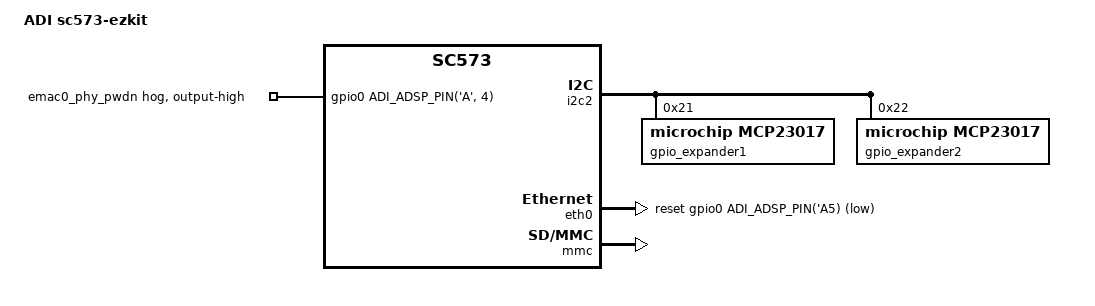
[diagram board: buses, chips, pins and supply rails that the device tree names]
// SPDX-License-Identifier: GPL-2.0-or-later
/*
 * (C) Copyright 2022 - Analog Devices, Inc.
 *
 * Written and/or maintained by Timesys Corporation
 *
 * Contact: Nathan Barrett-Morrison <nathan.morrison@timesys.com>
 * Contact: Greg Malysa <greg.malysa@timesys.com>
 */

/dts-v1/;

#include "sc5xx.dtsi"
#include "sc57x.dtsi"

/ {
	model = "ADI sc573-ezkit";
	compatible = "adi,sc573-ezkit", "adi,sc57x";
};

&i2c2 {
	gpio_expander1: mcp23017@21 {
		compatible = "microchip,mcp23017";
		reg = <0x21>;
		gpio-controller;
		#gpio-cells = <2>;
		bootph-all;

		eeprom {
			gpio-hog;
			gpios = <0 GPIO_ACTIVE_HIGH>;
			output-high;
			line-name = "~eeprom-en";
			bootph-all;
		};

		uart0-flow-en {
			gpio-hog;
			gpios = <1 GPIO_ACTIVE_HIGH>;
			output-high;
			line-name = "~uart0-flow-en";
			bootph-all;
		};

		mlb {
			gpio-hog;
			gpios = <5 GPIO_ACTIVE_HIGH>;
			output-high;
			line-name = "~mlb-en";
			bootph-all;
		};

		can0 {
			gpio-hog;
			gpios = <6 GPIO_ACTIVE_HIGH>;
			output-high;
			line-name = "~can0-en";
			bootph-all;
		};

		can1 {
			gpio-hog;
			gpios = <7 GPIO_ACTIVE_HIGH>;
			output-high;
			line-name = "~can1-en";
			bootph-all;
		};

		adau1962 {
			gpio-hog;
			gpios = <8 GPIO_ACTIVE_HIGH>;
			output-low;
			line-name = "~adau1962-en";
			bootph-all;
		};

		adau1979 {
			gpio-hog;
			gpios = <9 GPIO_ACTIVE_HIGH>;
			output-low;
			line-name = "~adau1979-en";
			bootph-all;
		};

		sd-wp-en {
			gpio-hog;
			gpios = <11 GPIO_ACTIVE_HIGH>;
			output-high;
			line-name = "~sd-wp-en";
			bootph-all;
		};

		spi2flash-cs {
			gpio-hog;
			gpios = <12 GPIO_ACTIVE_HIGH>;
			output-low;
			line-name = "~spi2flash-cs";
			bootph-all;
		};

		spi2d2-d3 {
			gpio-hog;
			gpios = <13 GPIO_ACTIVE_HIGH>;
			output-low;
			line-name = "~spi2d2-d3-en";
			bootph-all;
		};

		spdif-opt {
			gpio-hog;
			gpios = <14 GPIO_ACTIVE_HIGH>;
			output-high;
			line-name = "~spdif-optical-en";
			bootph-all;
		};

		spdif-dig {
			gpio-hog;
			gpios = <15 GPIO_ACTIVE_HIGH>;
			output-high;
			line-name = "~spdif-digital-en";
			bootph-all;
		};
	};

	gpio_expander2: mcp23017@22 {
		compatible = "microchip,mcp23017";
		reg = <0x22>;
		gpio-controller;
		#gpio-cells = <2>;
		bootph-all;

		pushbutton3 {
			gpio-hog;
			gpios = <0 GPIO_ACTIVE_HIGH>;
			output-high;
			line-name = "~pushbutton3-en";
			bootph-all;
		};

		pushbutton2 {
			gpio-hog;
			gpios = <1 GPIO_ACTIVE_HIGH>;
			output-high;
			line-name = "~pushbutton2-en";
			bootph-all;
		};

		pushbutton1 {
			gpio-hog;
			gpios = <2 GPIO_ACTIVE_HIGH>;
			output-high;
			line-name = "~pushbutton1-en";
			bootph-all;
		};

		leds {
			gpio-hog;
			gpios = <3 GPIO_ACTIVE_HIGH>;
			output-high;
			line-name = "~leds-en";
			bootph-all;
		};

		flg0 {
			gpio-hog;
			gpios = <4 GPIO_ACTIVE_HIGH>;
			output-high;
			line-name = "~flg0_loop";
			bootph-all;
		};

		flg1 {
			gpio-hog;
			gpios = <5 GPIO_ACTIVE_HIGH>;
			output-high;
			line-name = "~flg1_loop";
			bootph-all;
		};

		flg2 {
			gpio-hog;
			gpios = <6 GPIO_ACTIVE_HIGH>;
			output-high;
			line-name = "~flg2_loop";
			bootph-all;
		};

		flg3 {
			gpio-hog;
			gpios = <7 GPIO_ACTIVE_HIGH>;
			output-high;
			line-name = "~flg3_loop";
			bootph-all;
		};

		adau1977 {
			gpio-hog;
			gpios = <8 GPIO_ACTIVE_HIGH>;
			output-high;
			line-name = "~adau1977_en";
			bootph-all;
		};

		adau1977_fault_rst {
			gpio-hog;
			gpios = <9 GPIO_ACTIVE_HIGH>;
			output-high;
			line-name = "~adau1977_fault_rst_en";
			bootph-all;
		};

		thumbwheel {
			gpio-hog;
			gpios = <10 GPIO_ACTIVE_HIGH>;
			output-high;
			line-name = "~thumbwheel_oe";
			bootph-all;
		};

		engine_rpm {
			gpio-hog;
			gpios = <11 GPIO_ACTIVE_HIGH>;
			output-high;
			line-name = "~engine_rpm_oe";
			bootph-all;
		};
	};
};

&eth0 {
	snps,reset-gpio = <&gpio0 ADI_ADSP_PIN('A', 5) GPIO_ACTIVE_LOW>;
};

&gpio0 {
	emac0_phy_pwdn {
		gpio-hog;
		output-high;
		gpios = <ADI_ADSP_PIN('A', 4) GPIO_ACTIVE_HIGH>;
	};
};

&mmc {
	status = "okay";
};
